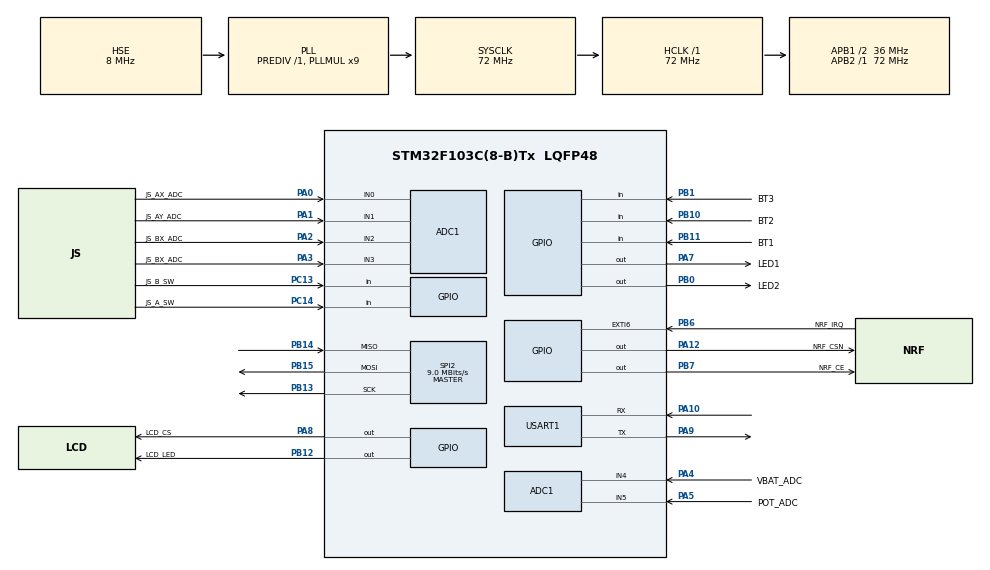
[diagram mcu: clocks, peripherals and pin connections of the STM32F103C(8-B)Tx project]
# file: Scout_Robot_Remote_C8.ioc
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ADC1.Channel-0\#ChannelRegularConversion=ADC_CHANNEL_3
ADC1.Channel-1\#ChannelRegularConversion=ADC_CHANNEL_2
ADC1.Channel-2\#ChannelRegularConversion=ADC_CHANNEL_1
ADC1.Channel-3\#ChannelRegularConversion=ADC_CHANNEL_0
ADC1.Channel-4\#ChannelRegularConversion=ADC_CHANNEL_4
ADC1.Channel-5\#ChannelRegularConversion=ADC_CHANNEL_5
ADC1.ContinuousConvMode=ENABLE
ADC1.NbrOfConversion=6
ADC1.NbrOfConversionFlag=1
ADC1.Rank-0\#ChannelRegularConversion=1
ADC1.Rank-1\#ChannelRegularConversion=2
ADC1.Rank-2\#ChannelRegularConversion=3
ADC1.Rank-3\#ChannelRegularConversion=4
ADC1.Rank-4\#ChannelRegularConversion=5
ADC1.Rank-5\#ChannelRegularConversion=6
ADC1.SamplingTime-0\#ChannelRegularConversion=ADC_SAMPLETIME_28CYCLES_5
ADC1.SamplingTime-1\#ChannelRegularConversion=ADC_SAMPLETIME_28CYCLES_5
ADC1.SamplingTime-2\#ChannelRegularConversion=ADC_SAMPLETIME_28CYCLES_5
ADC1.SamplingTime-3\#ChannelRegularConversion=ADC_SAMPLETIME_28CYCLES_5
ADC1.SamplingTime-4\#ChannelRegularConversion=ADC_SAMPLETIME_28CYCLES_5
ADC1.SamplingTime-5\#ChannelRegularConversion=ADC_SAMPLETIME_28CYCLES_5
ADC1.master=1
Dma.ADC1.0.Direction=DMA_PERIPH_TO_MEMORY
Dma.ADC1.0.Instance=DMA1_Channel1
Dma.ADC1.0.MemDataAlignment=DMA_MDATAALIGN_HALFWORD
Dma.ADC1.0.MemInc=DMA_MINC_ENABLE
Dma.ADC1.0.Mode=DMA_CIRCULAR
Dma.ADC1.0.PeriphDataAlignment=DMA_PDATAALIGN_HALFWORD
Dma.ADC1.0.PeriphInc=DMA_PINC_DISABLE
Dma.ADC1.0.Priority=DMA_PRIORITY_LOW
Dma.Request0=ADC1
Mcu.Family=STM32F1
Mcu.Name=STM32F103C(8-B)Tx
Mcu.Package=LQFP48
NVIC.DMA1_Channel1_IRQn=true\:0\:0\:false\:false\:true\:false\:true\:true
NVIC.PriorityGroup=NVIC_PRIORITYGROUP_4
NVIC.TIM1_BRK_IRQn=true\:0\:0\:false\:false\:true\:true\:true\:true
NVIC.TIM1_CC_IRQn=true\:0\:0\:false\:false\:true\:true\:true\:true
NVIC.TIM1_TRG_COM_IRQn=true\:0\:0\:false\:false\:true\:true\:true\:true
NVIC.TIM1_UP_IRQn=true\:0\:0\:false\:false\:true\:true\:true\:true
NVIC.TIM2_IRQn=true\:0\:0\:false\:false\:true\:true\:true\:true
PA0-WKUP.GPIO_Label=JS_AX_ADC
PA0-WKUP.Signal=ADCx_IN0
PA1.GPIO_Label=JS_AY_ADC
PA1.Signal=ADCx_IN1
PA10.Mode=Asynchronous
PA10.Signal=USART1_RX
PA12.GPIO_Label=NRF_CSN
PA12.PinState=GPIO_PIN_SET
PA12.Signal=GPIO_Output
PA2.GPIO_Label=JS_BX_ADC
PA2.Signal=ADCx_IN2
PA3.GPIO_Label=JS_BX_ADC
PA3.Signal=ADCx_IN3
PA4.GPIO_Label=VBAT_ADC
PA4.Signal=ADCx_IN4
PA5.GPIO_Label=POT_ADC
PA5.Signal=ADCx_IN5
PA7.GPIO_Label=LED1
PA7.Signal=GPIO_Output
PA8.GPIO_Label=LCD_CS
PA8.Signal=GPIO_Output
PA9.Mode=Asynchronous
PA9.Signal=USART1_TX
PB0.GPIO_Label=LED2
PB0.Signal=GPIO_Output
PB1.GPIO_Label=BT3
PB1.Signal=GPIO_Input
PB10.GPIO_Label=BT2
PB10.Signal=GPIO_Input
PB11.GPIO_Label=BT1
PB11.Signal=GPIO_Input
PB12.GPIO_Label=LCD_LED
PB12.Signal=GPIO_Output
PB13.Mode=Full_Duplex_Master
PB13.Signal=SPI2_SCK
PB14.Mode=Full_Duplex_Master
PB14.Signal=SPI2_MISO
PB15.Mode=Full_Duplex_Master
PB15.Signal=SPI2_MOSI
PB6.GPIO_Label=NRF_IRQ
PB6.Signal=GPXTI6
PB7.GPIO_Label=NRF_CE
PB7.PinState=GPIO_PIN_SET
PB7.Signal=GPIO_Output
PC13-TAMPER-RTC.GPIO_Label=JS_B_SW
PC13-TAMPER-RTC.Signal=GPIO_Input
PC14-OSC32_IN.GPIO_Label=JS_A_SW
PC14-OSC32_IN.Signal=GPIO_Input
PD0-OSC_IN.Mode=HSE-External-Oscillator
PD0-OSC_IN.Signal=RCC_OSC_IN
PD1-OSC_OUT.Mode=HSE-External-Oscillator
PD1-OSC_OUT.Signal=RCC_OSC_OUT
ProjectManager.HeapSize=0x200
ProjectManager.StackSize=0x400
ProjectManager.TargetToolchain=STM32CubeIDE
RCC.ADCPresc=RCC_ADCPCLK2_DIV6
RCC.AHBFreq_Value=72000000
RCC.APB1CLKDivider=RCC_HCLK_DIV2
RCC.APB1Freq_Value=36000000
RCC.APB1TimFreq_Value=72000000
RCC.APB2Freq_Value=72000000
RCC.APB2TimFreq_Value=72000000
RCC.EnbaleCSS=true
RCC.HCLKFreq_Value=72000000
RCC.PLLMUL=RCC_PLL_MUL9
RCC.PLLSourceVirtual=RCC_PLLSOURCE_HSE
RCC.SYSCLKFreq_VALUE=72000000
RCC.SYSCLKSource=RCC_SYSCLKSOURCE_PLLCLK
RCC.USBFreq_Value=72000000
SH.ADCx_IN0.0=ADC1_IN0,IN0
SH.ADCx_IN1.0=ADC1_IN1,IN1
SH.ADCx_IN2.0=ADC1_IN2,IN2
SH.ADCx_IN3.0=ADC1_IN3,IN3
SH.ADCx_IN4.0=ADC1_IN4,IN4
SH.ADCx_IN5.0=ADC1_IN5,IN5
SPI2.BaudRatePrescaler=SPI_BAUDRATEPRESCALER_4
SPI2.CalculateBaudRate=9.0 MBits/s
SPI2.Direction=SPI_DIRECTION_2LINES
SPI2.Mode=SPI_MODE_MASTER
SPI2.VirtualType=VM_MASTER
TIM1.Channel-Output\ Compare1\ No\ Output=TIM_CHANNEL_1
TIM1.Period=2499
TIM1.Prescaler=7199
TIM2.Channel-Output\ Compare1\ No\ Output=TIM_CHANNEL_1
TIM2.Period=99
TIM2.Prescaler=7199
USART1.VirtualMode=VM_ASYNC
VP_TIM1_VS_no_output1.Mode=Output Compare1 No Output
VP_TIM2_VS_no_output1.Mode=Output Compare1 No Output
board=custom

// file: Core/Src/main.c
/* USER CODE BEGIN Header */
/**
  ******************************************************************************
  * @file           : main.c
  * @brief          : Main program body
  ******************************************************************************
  * @attention
  *
  * Copyright (c) 2023 STMicroelectronics.
  * All rights reserved.
  *
  * This software is licensed under terms that can be found in the LICENSE file
  * in the root directory of this software component.
  * If no LICENSE file comes with this software, it is provided AS-IS.
  *Analog.h
NRF24L01.h
  ******************************************************************************
  */
/* USER CODE END Header */
#include "main.h"

/* USER CODE BEGIN Includes */
#include <stdio.h>
#include <stdlib.h>
#include "Analog.h"
#include "NRF24L01.h"
/* USER CODE END Includes */

/* USER CODE BEGIN PD */
#define lowByte(w) ((uint8_t) ((w) & 0xff))
#define highByte(w) ((uint8_t) ((w) >> 8))
/* USER CODE END PD */

ADC_HandleTypeDef hadc1;
DMA_HandleTypeDef hdma_adc1;

SPI_HandleTypeDef hspi2;

TIM_HandleTypeDef htim1;
TIM_HandleTypeDef htim2;

UART_HandleTypeDef huart1;

/* USER CODE BEGIN PV */
uint64_t ticks1;
uint64_t ticks2;
uint8_t flag_nrf;
uint8_t flag_js;
uint8_t flag_blink;
uint16_t DMA[6];
struct Joystick Joystick_R;
struct Joystick Joystick_L;
uint8_t TxPipeAddress[] = {0xEE, 0xDD, 0xCC, 0xBB, 0xAA};
uint8_t NRFBuffer[32];
/* USER CODE END PV */

void SystemClock_Config(void);
static void MX_GPIO_Init(void);
static void MX_DMA_Init(void);
static void MX_ADC1_Init(void);
static void MX_TIM1_Init(void);
static void MX_TIM2_Init(void);
static void MX_SPI2_Init(void);
static void MX_USART1_UART_Init(void);
/* USER CODE BEGIN PFP */
int _write(int file, char* ptr, int len){
	HAL_UART_Transmit(&huart1, (uint8_t *) ptr, len, 50);
	return len;
}

void sendint16(int16_t* data){
	uint8_t charBuffer[32];
	//sprintf(charBuffer, "%d", data);
	charBuffer[0] = lowByte(data[0]);
	charBuffer[1] = highByte(data[0]);
	charBuffer[2] = lowByte(data[1]);
	charBuffer[3] = highByte(data[1]);

	HAL_UART_Transmit(&huart1, charBuffer , 4, 100);
	//printf(charBuffer);
}
/* USER CODE END PFP */

int main(void)
{
  /* USER CODE BEGIN 1 */
	 uint8_t flag = 0;

  /* USER CODE END 1 */

  /* MCU Configuration--------------------------------------------------------*/

  /* Reset of all peripherals, Initializes the Flash interface and the Systick. */
  HAL_Init();

  /* Configure the system clock */
  SystemClock_Config();

  /* Initialize all configured peripherals */
  MX_GPIO_Init();
  MX_DMA_Init();
  MX_ADC1_Init();
  MX_TIM1_Init();
  MX_TIM2_Init();
  MX_SPI2_Init();
  MX_USART1_UART_Init();
  /* USER CODE BEGIN 2 */

  HAL_GPIO_WritePin(LED1_GPIO_Port, LED1_Pin, GPIO_PIN_SET);

  /*initialize necessary flags for callbacks*/
  flag_nrf = 0;
  flag_js = 0;

  /*initialize 32 byte buffer for communication*/
  for(uint8_t i = 0; i< 32; ++i){
	  NRFBuffer[i] = 0;
  }

  /* wait for the VCC settle */
  HAL_Delay(1000);

  /*initialize NRF24L01 module in transmit mode */
  NRF_Init(&hspi2, NRF_IRQ_GPIO_Port, NRF_IRQ_Pin, NRF_CSN_GPIO_Port, NRF_CSN_Pin, NRF_CE_GPIO_Port, NRF_CE_Pin);
  NRF_SetTxMode(TxPipeAddress, 10, 0);

  /*initialize and calibrate joystick structures */
  JS_Init(&Joystick_L, 2, 100, 100);
  JS_Init(&Joystick_R, 0, 100, 100);
  JS_Calibrate(&Joystick_R, 0, 0, 4035, 1975);
  JS_Calibrate(&Joystick_R, 1, 0, 4037, 2035);
  JS_Calibrate(&Joystick_L, 0, 0, 4030, 1966);
  JS_Calibrate(&Joystick_L, 1, 0, 4039, 1945);

  /*init/start peripherial structires*/
  analogInit(&hadc1, DMA);
  HAL_TIM_Base_Start_IT(&htim1);
  HAL_TIM_Base_Start_IT(&htim2);

  /* USER CODE END 2 */

  /* Infinite loop */
  /* USER CODE BEGIN WHILE */
  while (1){
	  /* callback from timer 1: aquisite data from joysticks */
	  if(flag_js){
		  JS_Aquisite(&Joystick_R, DMA);
		  JS_Aquisite(&Joystick_L, DMA);
		  /* construct data frame
		   * 0 index: data identification char1 - R - remote,
		   * 1 index: data identification char2 - D - data,
		   * 2 index: left Joystick X axis upper byte,
		   * 3 index: left Joystick X axis lower byte,
		   * 4 index: left Joystick Y axis upper byte,
		   * 5 index: left Joystick Y axis lower byte,
		   * 6 index: right Joystick X axis upper byte
		   * 7 index: right Joystick X axis lower byte
		   * 8 index: right Joystick Y axis upper byte
		   * 9 index: right Joystick Y axis lower byte
		   * 10 - 30 indexes - to be implemented
		   * 31 index - valid data count */
		  /*data frame identificator */
		  NRFBuffer[0] = 'R';
		  NRFBuffer[1] = 'D';

		  /* left joystick X position */
		  NRFBuffer[2] = highByte(Joystick_L.position[0]);
		  NRFBuffer[3] = lowByte(Joystick_L.position[0]);

		  /*left joystick Y position */
		  NRFBuffer[4] = highByte(Joystick_L.position[1]);
		  NRFBuffer[5] = lowByte(Joystick_L.position[1]);

		  /*right joystick X position */
		  NRFBuffer[6] = highByte(Joystick_R.position[0]);
		  NRFBuffer[7] = lowByte(Joystick_R.position[0]);

		  /*right joystick Y position */
		  NRFBuffer[8] = highByte(Joystick_R.position[1]);
		  NRFBuffer[9] = lowByte(Joystick_R.position[1]);

		  /* indexes 10 - 30  TBI */

		  /* valid data count: 10 */
		  NRFBuffer[31] = 10;

		 flag = NRF_Transmit(NRFBuffer);

		 if(flag)
			 flag_blink = 1;
		 else
			 flag_blink = 0;

			 //flag_nrf = 0;
			 //HAL_GPIO_TogglePin(LED1_GPIO_Port, LED1_Pin);

			 flag_js = 0;
	  }

	  if(flag_nrf){
		  	  //HAL_GPIO_TogglePin(LED1_Pin, LED1_Pin);
			if(flag_blink)
				HAL_GPIO_TogglePin(LED1_GPIO_Port, LED1_Pin);
			  flag_nrf = 0;
		  }

    /* USER CODE END WHILE */

  }
}

void SystemClock_Config(void)
{
  RCC_OscInitTypeDef RCC_OscInitStruct = {0};
  RCC_ClkInitTypeDef RCC_ClkInitStruct = {0};
  RCC_PeriphCLKInitTypeDef PeriphClkInit = {0};

  /** Initializes the RCC Oscillators according to the specified parameters
  * in the RCC_OscInitTypeDef structure.
  */
  RCC_OscInitStruct.OscillatorType = RCC_OSCILLATORTYPE_HSE;
  RCC_OscInitStruct.HSEState = RCC_HSE_ON;
  RCC_OscInitStruct.HSEPredivValue = RCC_HSE_PREDIV_DIV1;
  RCC_OscInitStruct.HSIState = RCC_HSI_ON;
  RCC_OscInitStruct.PLL.PLLState = RCC_PLL_ON;
  RCC_OscInitStruct.PLL.PLLSource = RCC_PLLSOURCE_HSE;
  RCC_OscInitStruct.PLL.PLLMUL = RCC_PLL_MUL9;
  if (HAL_RCC_OscConfig(&RCC_OscInitStruct) != HAL_OK)
  {
    Error_Handler();
  }

  /** Initializes the CPU, AHB and APB buses clocks
  */
  RCC_ClkInitStruct.ClockType = RCC_CLOCKTYPE_HCLK|RCC_CLOCKTYPE_SYSCLK
                              |RCC_CLOCKTYPE_PCLK1|RCC_CLOCKTYPE_PCLK2;
  RCC_ClkInitStruct.SYSCLKSource = RCC_SYSCLKSOURCE_PLLCLK;
  RCC_ClkInitStruct.AHBCLKDivider = RCC_SYSCLK_DIV1;
  RCC_ClkInitStruct.APB1CLKDivider = RCC_HCLK_DIV2;
  RCC_ClkInitStruct.APB2CLKDivider = RCC_HCLK_DIV1;

  if (HAL_RCC_ClockConfig(&RCC_ClkInitStruct, FLASH_LATENCY_2) != HAL_OK)
  {
    Error_Handler();
  }
  PeriphClkInit.PeriphClockSelection = RCC_PERIPHCLK_ADC;
  PeriphClkInit.AdcClockSelection = RCC_ADCPCLK2_DIV6;
  if (HAL_RCCEx_PeriphCLKConfig(&PeriphClkInit) != HAL_OK)
  {
    Error_Handler();
  }

  /** Enables the Clock Security System
  */
  HAL_RCC_EnableCSS();
}

static void MX_ADC1_Init(void)
{

  ADC_ChannelConfTypeDef sConfig = {0};

  /** Common config
  */
  hadc1.Instance = ADC1;
  hadc1.Init.ScanConvMode = ADC_SCAN_ENABLE;
  hadc1.Init.ContinuousConvMode = ENABLE;
  hadc1.Init.DiscontinuousConvMode = DISABLE;
  hadc1.Init.ExternalTrigConv = ADC_SOFTWARE_START;
  hadc1.Init.DataAlign = ADC_DATAALIGN_RIGHT;
  hadc1.Init.NbrOfConversion = 6;
  if (HAL_ADC_Init(&hadc1) != HAL_OK)
  {
    Error_Handler();
  }

  /** Configure Regular Channel
  */
  sConfig.Channel = ADC_CHANNEL_3;
  sConfig.Rank = ADC_REGULAR_RANK_1;
  sConfig.SamplingTime = ADC_SAMPLETIME_28CYCLES_5;
  if (HAL_ADC_ConfigChannel(&hadc1, &sConfig) != HAL_OK)
  {
    Error_Handler();
  }

  /** Configure Regular Channel
  */
  sConfig.Channel = ADC_CHANNEL_2;
  sConfig.Rank = ADC_REGULAR_RANK_2;
  if (HAL_ADC_ConfigChannel(&hadc1, &sConfig) != HAL_OK)
  {
    Error_Handler();
  }

  /** Configure Regular Channel
  */
  sConfig.Channel = ADC_CHANNEL_1;
  sConfig.Rank = ADC_REGULAR_RANK_3;
  if (HAL_ADC_ConfigChannel(&hadc1, &sConfig) != HAL_OK)
  {
    Error_Handler();
  }

  /** Configure Regular Channel
  */
  sConfig.Channel = ADC_CHANNEL_0;
  sConfig.Rank = ADC_REGULAR_RANK_4;
  if (HAL_ADC_ConfigChannel(&hadc1, &sConfig) != HAL_OK)
  {
    Error_Handler();
  }

  /** Configure Regular Channel
  */
  sConfig.Channel = ADC_CHANNEL_4;
  sConfig.Rank = ADC_REGULAR_RANK_5;
  if (HAL_ADC_ConfigChannel(&hadc1, &sConfig) != HAL_OK)
  {
    Error_Handler();
  }

  /** Configure Regular Channel
  */
  sConfig.Channel = ADC_CHANNEL_5;
  sConfig.Rank = ADC_REGULAR_RANK_6;
  if (HAL_ADC_ConfigChannel(&hadc1, &sConfig) != HAL_OK)
  {
    Error_Handler();
  }

}

static void MX_SPI2_Init(void)
{

  /* SPI2 parameter configuration*/
  hspi2.Instance = SPI2;
  hspi2.Init.Mode = SPI_MODE_MASTER;
  hspi2.Init.Direction = SPI_DIRECTION_2LINES;
  hspi2.Init.DataSize = SPI_DATASIZE_8BIT;
  hspi2.Init.CLKPolarity = SPI_POLARITY_LOW;
  hspi2.Init.CLKPhase = SPI_PHASE_1EDGE;
  hspi2.Init.NSS = SPI_NSS_SOFT;
  hspi2.Init.BaudRatePrescaler = SPI_BAUDRATEPRESCALER_4;
  hspi2.Init.FirstBit = SPI_FIRSTBIT_MSB;
  hspi2.Init.TIMode = SPI_TIMODE_DISABLE;
  hspi2.Init.CRCCalculation = SPI_CRCCALCULATION_DISABLE;
  hspi2.Init.CRCPolynomial = 10;
  if (HAL_SPI_Init(&hspi2) != HAL_OK)
  {
    Error_Handler();
  }

}

static void MX_TIM1_Init(void)
{

  TIM_MasterConfigTypeDef sMasterConfig = {0};
  TIM_OC_InitTypeDef sConfigOC = {0};
  TIM_BreakDeadTimeConfigTypeDef sBreakDeadTimeConfig = {0};

  htim1.Instance = TIM1;
  htim1.Init.Prescaler = 7199;
  htim1.Init.CounterMode = TIM_COUNTERMODE_UP;
  htim1.Init.Period = 2499;
  htim1.Init.ClockDivision = TIM_CLOCKDIVISION_DIV1;
  htim1.Init.RepetitionCounter = 0;
  htim1.Init.AutoReloadPreload = TIM_AUTORELOAD_PRELOAD_DISABLE;
  if (HAL_TIM_OC_Init(&htim1) != HAL_OK)
  {
    Error_Handler();
  }
  sMasterConfig.MasterOutputTrigger = TIM_TRGO_RESET;
  sMasterConfig.MasterSlaveMode = TIM_MASTERSLAVEMODE_DISABLE;
  if (HAL_TIMEx_MasterConfigSynchronization(&htim1, &sMasterConfig) != HAL_OK)
  {
    Error_Handler();
  }
  sConfigOC.OCMode = TIM_OCMODE_TIMING;
  sConfigOC.Pulse = 0;
  sConfigOC.OCPolarity = TIM_OCPOLARITY_HIGH;
  sConfigOC.OCNPolarity = TIM_OCNPOLARITY_HIGH;
  sConfigOC.OCFastMode = TIM_OCFAST_DISABLE;
  sConfigOC.OCIdleState = TIM_OCIDLESTATE_RESET;
  sConfigOC.OCNIdleState = TIM_OCNIDLESTATE_RESET;
  if (HAL_TIM_OC_ConfigChannel(&htim1, &sConfigOC, TIM_CHANNEL_1) != HAL_OK)
  {
    Error_Handler();
  }
  sBreakDeadTimeConfig.OffStateRunMode = TIM_OSSR_DISABLE;
  sBreakDeadTimeConfig.OffStateIDLEMode = TIM_OSSI_DISABLE;
  sBreakDeadTimeConfig.LockLevel = TIM_LOCKLEVEL_OFF;
  sBreakDeadTimeConfig.DeadTime = 0;
  sBreakDeadTimeConfig.BreakState = TIM_BREAK_DISABLE;
  sBreakDeadTimeConfig.BreakPolarity = TIM_BREAKPOLARITY_HIGH;
  sBreakDeadTimeConfig.AutomaticOutput = TIM_AUTOMATICOUTPUT_DISABLE;
  if (HAL_TIMEx_ConfigBreakDeadTime(&htim1, &sBreakDeadTimeConfig) != HAL_OK)
  {
    Error_Handler();
  }

}

static void MX_TIM2_Init(void)
{

  TIM_MasterConfigTypeDef sMasterConfig = {0};
  TIM_OC_InitTypeDef sConfigOC = {0};

  htim2.Instance = TIM2;
  htim2.Init.Prescaler = 7199;
  htim2.Init.CounterMode = TIM_COUNTERMODE_UP;
  htim2.Init.Period = 99;
  htim2.Init.ClockDivision = TIM_CLOCKDIVISION_DIV1;
  htim2.Init.AutoReloadPreload = TIM_AUTORELOAD_PRELOAD_DISABLE;
  if (HAL_TIM_OC_Init(&htim2) != HAL_OK)
  {
    Error_Handler();
  }
  sMasterConfig.MasterOutputTrigger = TIM_TRGO_RESET;
  sMasterConfig.MasterSlaveMode = TIM_MASTERSLAVEMODE_DISABLE;
  if (HAL_TIMEx_MasterConfigSynchronization(&htim2, &sMasterConfig) != HAL_OK)
  {
    Error_Handler();
  }
  sConfigOC.OCMode = TIM_OCMODE_TIMING;
  sConfigOC.Pulse = 0;
  sConfigOC.OCPolarity = TIM_OCPOLARITY_HIGH;
  sConfigOC.OCFastMode = TIM_OCFAST_DISABLE;
  if (HAL_TIM_OC_ConfigChannel(&htim2, &sConfigOC, TIM_CHANNEL_1) != HAL_OK)
  {
    Error_Handler();
  }

}

static void MX_USART1_UART_Init(void)
{

  huart1.Instance = USART1;
  huart1.Init.BaudRate = 115200;
  huart1.Init.WordLength = UART_WORDLENGTH_8B;
  huart1.Init.StopBits = UART_STOPBITS_1;
  huart1.Init.Parity = UART_PARITY_NONE;
  huart1.Init.Mode = UART_MODE_TX_RX;
  huart1.Init.HwFlowCtl = UART_HWCONTROL_NONE;
  huart1.Init.OverSampling = UART_OVERSAMPLING_16;
  if (HAL_UART_Init(&huart1) != HAL_OK)
  {
    Error_Handler();
  }

}

static void MX_DMA_Init(void)
{

  /* DMA controller clock enable */
  __HAL_RCC_DMA1_CLK_ENABLE();

  /* DMA interrupt init */
  /* DMA1_Channel1_IRQn interrupt configuration */
  HAL_NVIC_SetPriority(DMA1_Channel1_IRQn, 0, 0);
  HAL_NVIC_EnableIRQ(DMA1_Channel1_IRQn);

}

static void MX_GPIO_Init(void)
{
  GPIO_InitTypeDef GPIO_InitStruct = {0};

  /* GPIO Ports Clock Enable */
  __HAL_RCC_GPIOC_CLK_ENABLE();
  __HAL_RCC_GPIOD_CLK_ENABLE();
  __HAL_RCC_GPIOA_CLK_ENABLE();
  __HAL_RCC_GPIOB_CLK_ENABLE();

  /*Configure GPIO pin Output Level */
  HAL_GPIO_WritePin(GPIOA, LED1_Pin|LCD_CS_Pin, GPIO_PIN_RESET);

  /*Configure GPIO pin Output Level */
  HAL_GPIO_WritePin(GPIOB, LED2_Pin|LCD_LED_Pin, GPIO_PIN_RESET);

  /*Configure GPIO pin Output Level */
  HAL_GPIO_WritePin(NRF_CSN_GPIO_Port, NRF_CSN_Pin, GPIO_PIN_SET);

  /*Configure GPIO pin Output Level */
  HAL_GPIO_WritePin(NRF_CE_GPIO_Port, NRF_CE_Pin, GPIO_PIN_SET);

  /*Configure GPIO pins : JS_B_SW_Pin JS_A_SW_Pin */
  GPIO_InitStruct.Pin = JS_B_SW_Pin|JS_A_SW_Pin;
  GPIO_InitStruct.Mode = GPIO_MODE_INPUT;
  GPIO_InitStruct.Pull = GPIO_NOPULL;
  HAL_GPIO_Init(GPIOC, &GPIO_InitStruct);

  /*Configure GPIO pins : LED1_Pin LCD_CS_Pin NRF_CSN_Pin */
  GPIO_InitStruct.Pin = LED1_Pin|LCD_CS_Pin|NRF_CSN_Pin;
  GPIO_InitStruct.Mode = GPIO_MODE_OUTPUT_PP;
  GPIO_InitStruct.Pull = GPIO_NOPULL;
  GPIO_InitStruct.Speed = GPIO_SPEED_FREQ_LOW;
  HAL_GPIO_Init(GPIOA, &GPIO_InitStruct);

  /*Configure GPIO pins : LED2_Pin LCD_LED_Pin NRF_CE_Pin */
  GPIO_InitStruct.Pin = LED2_Pin|LCD_LED_Pin|NRF_CE_Pin;
  GPIO_InitStruct.Mode = GPIO_MODE_OUTPUT_PP;
  GPIO_InitStruct.Pull = GPIO_NOPULL;
  GPIO_InitStruct.Speed = GPIO_SPEED_FREQ_LOW;
  HAL_GPIO_Init(GPIOB, &GPIO_InitStruct);

  /*Configure GPIO pins : BT3_Pin BT2_Pin BT1_Pin */
  GPIO_InitStruct.Pin = BT3_Pin|BT2_Pin|BT1_Pin;
  GPIO_InitStruct.Mode = GPIO_MODE_INPUT;
  GPIO_InitStruct.Pull = GPIO_NOPULL;
  HAL_GPIO_Init(GPIOB, &GPIO_InitStruct);

  /*Configure GPIO pin : NRF_IRQ_Pin */
  GPIO_InitStruct.Pin = NRF_IRQ_Pin;
  GPIO_InitStruct.Mode = GPIO_MODE_IT_RISING;
  GPIO_InitStruct.Pull = GPIO_NOPULL;
  HAL_GPIO_Init(NRF_IRQ_GPIO_Port, &GPIO_InitStruct);

}

/* USER CODE BEGIN 4 */
void HAL_TIM_PeriodElapsedCallback(TIM_HandleTypeDef  *htim){
	if(htim == &htim1){

		flag_nrf = 1;
	}

	if(htim == &htim2){
		//HAL_GPIO_TogglePin(LED_2_GPIO_Port, LED_2_Pin);
		flag_js = 1;
	}
}
/* USER CODE END 4 */

void Error_Handler(void)
{
  __disable_irq();
  while (1)
  {
  }
}
